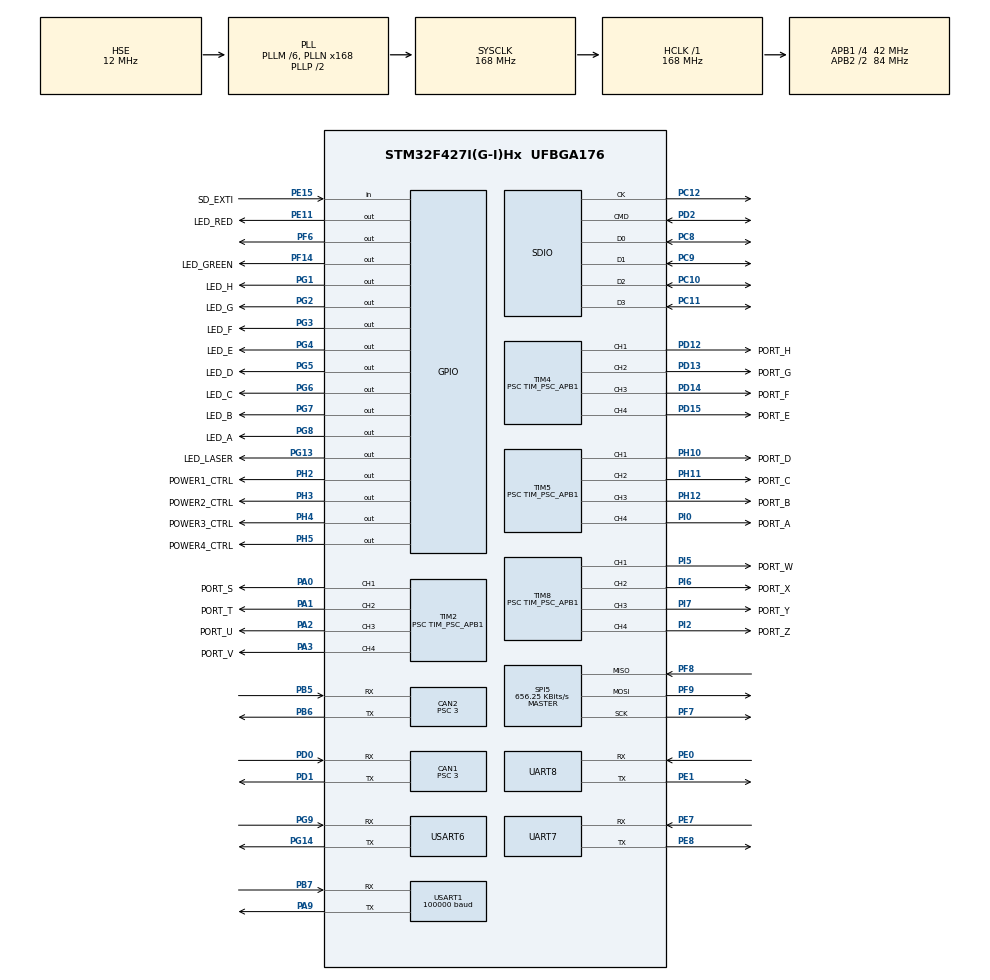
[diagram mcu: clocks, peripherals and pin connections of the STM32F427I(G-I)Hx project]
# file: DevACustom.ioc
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PG8.GPIO_ModeDefaultOutputPP=GPIO_MODE_OUTPUT_PP
VP_TIM5_VS_ClockSourceINT.Mode=Internal
CAN1.NART=DISABLE
PD12.GPIO_Label=PORT_H
PG6.PinState=GPIO_PIN_RESET
PC10.GPIO_PuPd=GPIO_PULLUP
PH12.Signal=S_TIM5_CH3
FATFS._USE_LFN=2
PG2.GPIO_PuPd=GPIO_NOPULL
VP_FATFS_VS_SDIO.Mode=SDIO
PG8.Signal=GPIO_Output
PG4.Signal=GPIO_Output
PC12.Signal=SDIO_CK
PG6.GPIO_Label=LED_C
Dma.SDIO_RX.1.Direction=DMA_PERIPH_TO_MEMORY
VP_RTC_VS_RTC_Activate.Mode=RTC_Enabled
Dma.SDIO_RX.1.Priority=DMA_PRIORITY_LOW
PI6.GPIO_Label=PORT_X
TIM8.Channel-PWM\ Generation4\ CH4=TIM_CHANNEL_4
PG5.GPIO_ModeDefaultOutputPP=GPIO_MODE_OUTPUT_PP
PG13.Signal=GPIO_Output
RCC.SYSCLKSource=RCC_SYSCLKSOURCE_PLLCLK
Dma.SDIO_RX.1.Instance=DMA2_Stream3
PH5.Signal=GPIO_Output
Dma.SDIO_TX.2.MemDataAlignment=DMA_MDATAALIGN_WORD
PF7.Signal=SPI5_SCK
TIM2.Pulse-PWM\ Generation3\ CH3=PWM_DEFAULT_DUTY
NVIC.CAN1_TX_IRQn=true\:5\:0\:false\:false\:true\:true\:true\:true
TIM8.Pulse-PWM\ Generation4\ CH4=PWM_DEFAULT_DUTY
PG2.GPIO_ModeDefaultOutputPP=GPIO_MODE_OUTPUT_PP
RCC.APB2TimFreq_Value=168000000
TIM4.Pulse-PWM\ Generation1\ CH1=PWM_DEFAULT_DUTY
Dma.SDIO_RX.1.FIFOMode=DMA_FIFOMODE_ENABLE
PB6.Signal=CAN2_TX
PH1/OSC_OUT.Signal=RCC_OSC_OUT
PB6.Mode=Slave
PD0.Signal=CAN1_RX
PE1.Signal=UART8_TX
TIM5.Pulse-PWM\ Generation1\ CH1=PWM_DEFAULT_DUTY
PH10.GPIO_Label=PORT_D
TIM4.Channel-PWM\ Generation3\ CH3=TIM_CHANNEL_3
PG14.Mode=Asynchronous
PG6.GPIO_PuPd=GPIO_NOPULL
PI6.Signal=S_TIM8_CH2
PG4.GPIO_Label=LED_E
PC9.Mode=SD_4_bits_Wide_bus
SH.S_TIM4_CH2.0=TIM4_CH2,PWM Generation2 CH2
PF8.Mode=Full_Duplex_Master
TIM4.Period=PWM_RESOLUTION-1
VP_FREERTOS_VS_CMSIS_V1.Mode=CMSIS_V1
CAN1.Prescaler=3
Mcu.Package=UFBGA176
TIM2.Prescaler=TIM_PSC_APB1
TIM8.Channel-PWM\ Generation3\ CH3=TIM_CHANNEL_3
SH.S_TIM8_CH4.0=TIM8_CH4,PWM Generation4 CH4
NVIC.TimeBase=TIM7_IRQn
PD12.Signal=S_TIM4_CH1
TIM8.Pulse-PWM\ Generation3\ CH3=PWM_DEFAULT_DUTY
NVIC.TimeBaseIP=TIM7
PC11.Mode=SD_4_bits_Wide_bus
TIM2.Pulse-PWM\ Generation2\ CH2=PWM_DEFAULT_DUTY
SPI5.CalculateBaudRate=656.25 KBits/s
PH2.Signal=GPIO_Output
PG8.GPIO_Speed=GPIO_SPEED_FREQ_LOW
RCC.APB2CLKDivider=RCC_HCLK_DIV2
NVIC.DMA2_Stream2_IRQn=true\:5\:0\:false\:false\:true\:true\:false\:true
SH.S_TIM4_CH1.0=TIM4_CH1,PWM Generation1 CH1
PF14.Signal=GPIO_Output
RCC.APB1TimFreq_Value=84000000
PG1.PinState=GPIO_PIN_RESET
NVIC.USART1_IRQn=true\:5\:0\:false\:false\:true\:true\:true\:true
TIM4.Channel-PWM\ Generation4\ CH4=TIM_CHANNEL_4
Dma.SDIO_TX.2.FIFOThreshold=DMA_FIFO_THRESHOLD_FULL
PD15.Signal=S_TIM4_CH4
SPI5.VirtualType=VM_MASTER
TIM4.Pulse-PWM\ Generation2\ CH2=PWM_DEFAULT_DUTY
PG6.GPIO_Speed=GPIO_SPEED_FREQ_LOW
CAN1.CalculateTimeQuantum=71.42857142857143
SH.S_TIM8_CH3.0=TIM8_CH3,PWM Generation3 CH3
Dma.SDIO_TX.2.MemInc=DMA_MINC_ENABLE
TIM4.Pulse-PWM\ Generation3\ CH3=PWM_DEFAULT_DUTY
TIM5.Pulse-PWM\ Generation2\ CH2=PWM_DEFAULT_DUTY
NVIC.UART8_IRQn=true\:5\:0\:false\:false\:true\:true\:true\:true
FREERTOS.Tasks01=indicatorTask,0,1024,indicatorTaskFunc,Default,NULL,Dynamic,NULL,NULL;chassisTask,0,128,chassisTaskFunc,Default,NULL,Dynamic,NULL,NULL;gimbalTask,0,128,gimbalTaskFunc,Default,NULL,Dynamic,NULL,NULL;flywheelTask,0,128,flywheelTaskFunc,Default,NULL,Dynamic,NULL,NULL;feederTask,0,128,feederTaskFunc,Default,NULL,Dynamic,NULL,NULL;canTask,0,128,canTaskFunc,Default,NULL,Dynamic,NULL,NULL;uartTask,0,128,uartTaskFunc,Default,NULL,Dynamic,NULL,NULL;decisionsTask,0,128,decisionTaskFunc,Default,NULL,Dynamic,NULL,NULL
PD2.GPIO_PuPd=GPIO_PULLUP
PG5.Signal=GPIO_Output
PG9.Signal=USART6_RX
PE1.Mode=Asynchronous
PG9.Mode=Asynchronous
PD1.Signal=CAN1_TX
PF14.GPIO_Label=LED_GREEN
TIM5.Channel-PWM\ Generation3\ CH3=TIM_CHANNEL_3
RCC.APB1CLKDivider=RCC_HCLK_DIV4
UART8.VirtualMode=Asynchronous
PG13.GPIO_Label=LED_LASER
SH.S_TIM8_CH2.0=TIM8_CH2,PWM Generation2 CH2
PG8.GPIO_PuPd=GPIO_NOPULL
PE8.Mode=Asynchronous
PG2.PinState=GPIO_PIN_RESET
PG5.PinState=GPIO_PIN_RESET
Dma.USART1_RX.0.Direction=DMA_PERIPH_TO_MEMORY
PA9.Signal=USART1_TX
PH11.GPIO_Label=PORT_C
VP_TIM8_VS_ClockSourceINT.Mode=Internal
PG7.PinState=GPIO_PIN_RESET
Dma.SDIO_TX.2.PeriphDataAlignment=DMA_PDATAALIGN_WORD
NVIC.DMA2_Stream6_IRQn=true\:5\:0\:false\:false\:true\:true\:false\:true
Dma.USART1_RX.0.PeriphInc=DMA_PINC_DISABLE
Dma.SDIO_RX.1.FIFOThreshold=DMA_FIFO_THRESHOLD_FULL
PC12.Mode=SD_4_bits_Wide_bus
SH.S_TIM8_CH1.0=TIM8_CH1,PWM Generation1 CH1
Dma.SDIO_RX.1.MemBurst=DMA_MBURST_INC4
PD1.Mode=Master
TIM4.Pulse-PWM\ Generation4\ CH4=PWM_DEFAULT_DUTY
PI7.Signal=S_TIM8_CH3
PE15.Signal=GPIO_Input
PE8.Signal=UART7_TX
PG7.GPIO_Label=LED_B
PI2.Signal=S_TIM8_CH4
PA1.GPIO_Label=PORT_T
PC9.GPIO_PuPd=GPIO_PULLUP
PA0/WKUP.GPIO_Label=PORT_S
TIM2.Period=PWM_RESOLUTION-1
PA13.Mode=Serial_Wire
PG1.GPIO_Speed=GPIO_SPEED_FREQ_LOW
Dma.SDIO_TX.2.Priority=DMA_PRIORITY_LOW
TIM8.Period=PWM_RESOLUTION-1
PC8.Mode=SD_4_bits_Wide_bus
PC8.GPIO_PuPd=GPIO_PULLUP
TIM5.Channel-PWM\ Generation2\ CH2=TIM_CHANNEL_2
PB5.Signal=CAN2_RX
PG7.GPIO_ModeDefaultOutputPP=GPIO_MODE_OUTPUT_PP
USART1.VirtualMode=VM_ASYNC
SH.S_TIM2_CH1_ETR.0=TIM2_CH1,PWM Generation1 CH1
TIM5.Channel-PWM\ Generation1\ CH1=TIM_CHANNEL_1
Dma.SDIO_TX.2.MemBurst=DMA_MBURST_INC4
ProjectManager.HeapSize=0x2000
Dma.SDIO_RX.1.MemInc=DMA_MINC_ENABLE
PF9.Signal=SPI5_MOSI
VP_TIM4_VS_ClockSourceINT.Mode=Internal
NVIC.PriorityGroup=NVIC_PRIORITYGROUP_4
Dma.SDIO_TX.2.PeriphInc=DMA_PINC_DISABLE
TIM2.Pulse-PWM\ Generation4\ CH4=PWM_DEFAULT_DUTY
PG3.GPIO_Label=LED_F
PD2.Signal=SDIO_CMD
PG5.GPIO_Speed=GPIO_SPEED_FREQ_LOW
PH2.GPIO_Label=POWER1_CTRL
NVIC.CAN1_RX0_IRQn=true\:5\:0\:false\:false\:true\:true\:true\:true
Mcu.Family=STM32F4
RCC.CortexFreq_Value=168000000
Dma.SDIO_RX.1.PeriphDataAlignment=DMA_PDATAALIGN_WORD
PG6.Signal=GPIO_Output
PH10.Signal=S_TIM5_CH1
PG2.Signal=GPIO_Output
PE11.GPIO_Label=LED_RED
USART1.BaudRate=100000
PC10.Signal=SDIO_D2
TIM8.Pulse-PWM\ Generation1\ CH1=PWM_DEFAULT_DUTY
Dma.SDIO_RX.1.Mode=DMA_PFCTRL
SH.S_TIM5_CH2.0=TIM5_CH2,PWM Generation2 CH2
PA0/WKUP.Signal=S_TIM2_CH1_ETR
TIM5.Pulse-PWM\ Generation4\ CH4=PWM_DEFAULT_DUTY
PH5.GPIO_Label=POWER4_CTRL
PI5.GPIO_Label=PORT_W
TIM2.Channel-PWM\ Generation2\ CH2=TIM_CHANNEL_2
PG5.GPIO_Label=LED_D
ProjectManager.StackSize=0x4000
PG3.GPIO_PuPd=GPIO_NOPULL
PG2.GPIO_Speed=GPIO_SPEED_FREQ_LOW
Dma.SDIO_TX.2.Mode=DMA_PFCTRL
PD13.Signal=S_TIM4_CH2
PC11.GPIO_PuPd=GPIO_PULLUP
Mcu.UserConstants=APB1_TIMER_CLOCKS,84000000;PWM_DEFAULT_DUTY,5000;PWM_FREQUENCE,50;PWM_RESOLUTION,10000;TIM_PSC_APB1,((APB1_TIMER_CLOCKS/PWM_FREQUENCE)/PWM_RESOLUTION -1);APB2_TIMER_CLOCKS,168000000;TIM_PSC_APB2,((APB2_TIMER_CLOCKS/PWM_FREQUENCE)/PWM_RESOLUTION -1)
PH0/OSC_IN.Mode=HSE-External-Oscillator
PG3.GPIO_ModeDefaultOutputPP=GPIO_MODE_OUTPUT_PP
RCC.HCLKFreq_Value=168000000
TIM8.Channel-PWM\ Generation1\ CH1=TIM_CHANNEL_1
SH.S_TIM5_CH3.0=TIM5_CH3,PWM Generation3 CH3
PG5.GPIO_PuPd=GPIO_NOPULL
RCC.AHBFreq_Value=168000000
Dma.USART1_RX.0.Priority=DMA_PRIORITY_LOW
RCC.HSE_VALUE=12000000
PF9.Mode=Full_Duplex_Master
PG4.GPIO_Speed=GPIO_SPEED_FREQ_LOW
TIM5.Channel-PWM\ Generation4\ CH4=TIM_CHANNEL_4
PI5.Signal=S_TIM8_CH1
PA14.Mode=Serial_Wire
CAN2.Prescaler=3
PI0.Signal=S_TIM5_CH4
TIM5.Pulse-PWM\ Generation3\ CH3=PWM_DEFAULT_DUTY
PB5.Mode=Slave
Dma.SDIO_TX.2.Direction=DMA_MEMORY_TO_PERIPH
PB7.Signal=USART1_RX
PG7.GPIO_PuPd=GPIO_NOPULL
TIM2.Channel-PWM\ Generation1\ CH1=TIM_CHANNEL_1
Dma.USART1_RX.0.MemInc=DMA_MINC_ENABLE
PH1/OSC_OUT.Mode=HSE-External-Oscillator
PG6.GPIO_ModeDefaultOutputPP=GPIO_MODE_OUTPUT_PP
PD13.GPIO_Label=PORT_G
PG4.PinState=GPIO_PIN_RESET
SPI5.BaudRatePrescaler=SPI_BAUDRATEPRESCALER_128
TIM8.Pulse-PWM\ Generation2\ CH2=PWM_DEFAULT_DUTY
CAN2.BS1=CAN_BS1_9TQ
CAN2.BS2=CAN_BS2_4TQ
USART6.VirtualMode=VM_ASYNC
Dma.SDIO_TX.2.PeriphBurst=DMA_PBURST_INC4
PG1.GPIO_PuPd=GPIO_NOPULL
PA2.GPIO_Label=PORT_U
TIM8.Channel-PWM\ Generation2\ CH2=TIM_CHANNEL_2
PF8.Signal=SPI5_MISO
Dma.SDIO_RX.1.PeriphBurst=DMA_PBURST_INC4
PI0.GPIO_Label=PORT_A
PH3.GPIO_Label=POWER2_CTRL
TIM8.Prescaler=TIM_PSC_APB1
Dma.USART1_RX.0.FIFOMode=DMA_FIFOMODE_DISABLE
PG8.PinState=GPIO_PIN_RESET
Dma.Request2=SDIO_TX
Dma.Request1=SDIO_RX
SH.S_TIM5_CH1.0=TIM5_CH1,PWM Generation1 CH1
Dma.USART1_RX.0.Mode=DMA_CIRCULAR
PE7.Signal=UART7_RX
PI2.GPIO_Label=PORT_Z
Dma.Request0=USART1_RX
Dma.USART1_RX.0.Instance=DMA2_Stream2
NVIC.TIM7_IRQn=true\:0\:0\:false\:false\:true\:false\:false\:true
PG2.GPIO_Label=LED_G
PA3.Signal=S_TIM2_CH4
RCC.PLLSourceVirtual=RCC_PLLSOURCE_HSE
TIM4.Channel-PWM\ Generation1\ CH1=TIM_CHANNEL_1
TIM2.Channel-PWM\ Generation4\ CH4=TIM_CHANNEL_4
PD15.GPIO_Label=PORT_E
PG7.Signal=GPIO_Output
Dma.USART1_RX.0.PeriphDataAlignment=DMA_PDATAALIGN_BYTE
CAN1.TXFP=DISABLE
PH12.GPIO_Label=PORT_B
PG4.GPIO_ModeDefaultOutputPP=GPIO_MODE_OUTPUT_PP
PH11.Signal=S_TIM5_CH2
PG3.Signal=GPIO_Output
SH.S_TIM4_CH4.0=TIM4_CH4,PWM Generation4 CH4
PG1.Signal=GPIO_Output
VP_SYS_VS_tim7.Mode=TIM7
PC11.Signal=SDIO_D3
PC8.Signal=SDIO_D0
PC10.Mode=SD_4_bits_Wide_bus
Dma.SDIO_TX.2.Instance=DMA2_Stream6
UART7.VirtualMode=Asynchronous
VP_RNG_VS_RNG.Mode=RNG_Activate
SPI5.Mode=SPI_MODE_MASTER
NVIC.SDIO_IRQn=true\:5\:0\:false\:false\:true\:true\:true\:true
TIM2.Pulse-PWM\ Generation1\ CH1=PWM_DEFAULT_DUTY
Dma.SDIO_RX.1.PeriphInc=DMA_PINC_DISABLE
NVIC.USART6_IRQn=true\:5\:0\:false\:false\:true\:true\:true\:true
PG8.GPIO_Label=LED_A
PA13.Signal=SYS_JTMS-SWDIO
PF7.Mode=Full_Duplex_Master
SH.S_TIM2_CH2.0=TIM2_CH2,PWM Generation2 CH2
PA9.Mode=Asynchronous
PE15.GPIO_Label=SD_EXTI
PH4.Signal=GPIO_Output
CAN1.BS2=CAN_BS2_4TQ
PF6.Signal=GPIO_Output
CAN1.BS1=CAN_BS1_9TQ
ProjectManager.TargetToolchain=MDK-ARM V5
SH.S_TIM4_CH3.0=TIM4_CH3,PWM Generation3 CH3
USART1.Parity=PARITY_EVEN
PG1.GPIO_ModeDefaultOutputPP=GPIO_MODE_OUTPUT_PP
NVIC.DMA2_Stream3_IRQn=true\:5\:0\:false\:false\:true\:true\:false\:true
TIM4.Prescaler=TIM_PSC_APB1
PE11.Signal=GPIO_Output
RCC.LSE_VALUE=32768
PA1.Signal=S_TIM2_CH2
CAN1.ABOM=ENABLE
Dma.SDIO_RX.1.MemDataAlignment=DMA_MDATAALIGN_WORD
PD2.Mode=SD_4_bits_Wide_bus
PG14.Signal=USART6_TX
board=custom
RCC.VCOOutputFreq_Value=336000000
PG1.GPIO_Label=LED_H
PH4.GPIO_Label=POWER3_CTRL
PH0/OSC_IN.Signal=RCC_OSC_IN
PG3.PinState=GPIO_PIN_RESET
TIM4.Channel-PWM\ Generation2\ CH2=TIM_CHANNEL_2
PG7.GPIO_Speed=GPIO_SPEED_FREQ_LOW
RCC.APB2Freq_Value=84000000
FATFS._FS_EXFAT=1
VP_TIM2_VS_ClockSourceINT.Mode=Internal
SH.S_TIM2_CH3.0=TIM2_CH3,PWM Generation3 CH3
CAN2.CalculateTimeQuantum=71.42857142857143
TIM2.Channel-PWM\ Generation3\ CH3=TIM_CHANNEL_3
Dma.USART1_RX.0.MemDataAlignment=DMA_MDATAALIGN_BYTE
PI7.GPIO_Label=PORT_Y
SH.S_TIM5_CH4.0=TIM5_CH4,PWM Generation4 CH4
PD14.GPIO_Label=PORT_F
PE0.Signal=UART8_RX
Mcu.Name=STM32F427I(G-I)Hx
PD0.Mode=Master
PA2.Signal=S_TIM2_CH3
FATFS._MAX_SS=4096
PD14.Signal=S_TIM4_CH3
RCC.48MHZClocksFreq_Value=48000000
RCC.SYSCLKFreq_VALUE=168000000
PE7.Mode=Asynchronous
TIM5.Prescaler=TIM_PSC_APB1
PB7.Mode=Asynchronous
PA14.Signal=SYS_JTCK-SWCLK
PG3.GPIO_Speed=GPIO_SPEED_FREQ_LOW
Dma.SDIO_TX.2.FIFOMode=DMA_FIFOMODE_ENABLE
SH.S_TIM2_CH4.0=TIM2_CH4,PWM Generation4 CH4
PG4.GPIO_PuPd=GPIO_NOPULL
RCC.HSI_VALUE=16000000
RCC.PLLQ=7
PH3.Signal=GPIO_Output
RCC.PLLM=6
RCC.PLLN=168
TIM5.Period=PWM_RESOLUTION-1
PC9.Signal=SDIO_D1
RCC.APB1Freq_Value=42000000
PE0.Mode=Asynchronous
SPI5.Direction=SPI_DIRECTION_2LINES
PA3.GPIO_Label=PORT_V
NVIC.UART7_IRQn=true\:5\:0\:false\:false\:true\:true\:true\:true

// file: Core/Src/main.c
/* USER CODE BEGIN Header */
/**
  ******************************************************************************
  * @file           : main.c
  * @brief          : Main program body
  ******************************************************************************
  * @attention
  *
  * <h2><center>&copy; Copyright (c) 2020 STMicroelectronics.
  * All rights reserved.</center></h2>
  *
  * This software component is licensed by ST under Ultimate Liberty license
  * SLA0044, the "License"; You may not use this file except in compliance with
  * the License. You may obtain a copy of the License at:
  *                             www.st.com/SLA0044
  *
  ******************************************************************************
  */
/* USER CODE END Header */

#include "main.h"
#include "cmsis_os.h"
#include "can.h"
#include "dma.h"
#include "fatfs.h"
#include "rng.h"
#include "rtc.h"
#include "sdio.h"
#include "spi.h"
#include "tim.h"
#include "usart.h"
#include "gpio.h"

/* USER CODE BEGIN Includes */
#include "information/rc_protocol.h"
#include "information/sd_protocol.h"
/* USER CODE END Includes */

/* USER CODE BEGIN PV */
// int rxCallbackCounter2 = 0;
// uint8_t readBuf[1];
/* USER CODE END PV */

void SystemClock_Config(void);
void MX_FREERTOS_Init(void);

/* USER CODE BEGIN 0 */
// void HAL_UART_RxCpltCallback(UART_HandleTypeDef* huart) {
//     rxCallbackCounter2++;
//     // if (readBuf[0] == 'r') {
//     // 	HAL_GPIO_TogglePin(LED_GPIO_Port, LED_Pin);
//     // 	HAL_UART_Transmit(&huart6, txString, sizeof(txString), timeout);
//     // }
//     // else if (readBuf[0] == 's') {
//     // 	HAL_GPIO_TogglePin(LED_GPIO_Port, LED_Pin);
//     // 	HAL_UART_Transmit(&huart6, txString1, sizeof(txString1), timeout);
//     // }
//     HAL_UART_Receive_IT(&huart6, (uint8_t*)readBuf, 1);
// }
/* USER CODE END 0 */

int main(void)
{

  /* MCU Configuration--------------------------------------------------------*/

  /* Reset of all peripherals, Initializes the Flash interface and the Systick. */

  HAL_Init();

  /* Configure the system clock */
  SystemClock_Config();

  /* Initialize all configured peripherals */
  MX_GPIO_Init();
  MX_DMA_Init();
  MX_CAN1_Init();
  MX_TIM2_Init();
  MX_TIM4_Init();
  MX_TIM5_Init();
  MX_TIM8_Init();
  MX_RNG_Init();
  MX_RTC_Init();
  MX_USART6_UART_Init();
  MX_CAN2_Init();
  MX_USART1_UART_Init();
  MX_UART7_Init();
  MX_UART8_Init();
  MX_SDIO_SD_Init();
  MX_FATFS_Init();
  MX_SPI5_Init();
  /* USER CODE BEGIN 2 */
	BSP_SD_Init();

  //HAL_UART_Receive_IT(&huart6, (uint8_t*)readBuf, 1);

  // Turn all the LED's off to begin with
  HAL_GPIO_WritePin(GPIOE, LED_RED_Pin, GPIO_PIN_SET);
  HAL_GPIO_WritePin(GPIOF, LED_GREEN_Pin, GPIO_PIN_SET);
	HAL_GPIO_WritePin(GPIOG, LED_LASER_Pin, GPIO_PIN_RESET);
  HAL_GPIO_WritePin(GPIOG, LED_A_Pin, GPIO_PIN_SET);
  HAL_GPIO_WritePin(GPIOG, LED_B_Pin, GPIO_PIN_SET);
  HAL_GPIO_WritePin(GPIOG, LED_C_Pin, GPIO_PIN_SET);
  HAL_GPIO_WritePin(GPIOG, LED_D_Pin, GPIO_PIN_SET);
  HAL_GPIO_WritePin(GPIOG, LED_E_Pin, GPIO_PIN_SET);
  HAL_GPIO_WritePin(GPIOG, LED_F_Pin, GPIO_PIN_SET);
  HAL_GPIO_WritePin(GPIOG, LED_G_Pin, GPIO_PIN_SET);
  HAL_GPIO_WritePin(GPIOG, LED_H_Pin, GPIO_PIN_SET);

	HAL_GPIO_WritePin(GPIOH, POWER4_CTRL_Pin, GPIO_PIN_RESET);

  /* USER CODE END 2 */

  /* Call init function for freertos objects (in freertos.c) */
  MX_FREERTOS_Init();
  /* Start scheduler */
  osKernelStart();

  /* We should never get here as control is now taken by the scheduler */
  /* Infinite loop */
  /* USER CODE BEGIN WHILE */
    while (1) {
        HAL_GPIO_TogglePin(GPIOE, LED_RED_Pin);
        HAL_Delay(500);
        // blinking red LED if the kernel isn't started for whatever reason
    /* USER CODE END WHILE */

    }
}

void SystemClock_Config(void)
{
  RCC_OscInitTypeDef RCC_OscInitStruct = {0};
  RCC_ClkInitTypeDef RCC_ClkInitStruct = {0};
  RCC_PeriphCLKInitTypeDef PeriphClkInitStruct = {0};

  /** Configure the main internal regulator output voltage
  */
  __HAL_RCC_PWR_CLK_ENABLE();
  __HAL_PWR_VOLTAGESCALING_CONFIG(PWR_REGULATOR_VOLTAGE_SCALE1);
  /** Initializes the CPU, AHB and APB busses clocks
  */
  RCC_OscInitStruct.OscillatorType = RCC_OSCILLATORTYPE_LSI|RCC_OSCILLATORTYPE_HSE;
  RCC_OscInitStruct.HSEState = RCC_HSE_ON;
  RCC_OscInitStruct.LSIState = RCC_LSI_ON;
  RCC_OscInitStruct.PLL.PLLState = RCC_PLL_ON;
  RCC_OscInitStruct.PLL.PLLSource = RCC_PLLSOURCE_HSE;
  RCC_OscInitStruct.PLL.PLLM = 6;
  RCC_OscInitStruct.PLL.PLLN = 168;
  RCC_OscInitStruct.PLL.PLLP = RCC_PLLP_DIV2;
  RCC_OscInitStruct.PLL.PLLQ = 7;
  if (HAL_RCC_OscConfig(&RCC_OscInitStruct) != HAL_OK)
  {
    Error_Handler();
  }
  /** Initializes the CPU, AHB and APB busses clocks
  */
  RCC_ClkInitStruct.ClockType = RCC_CLOCKTYPE_HCLK|RCC_CLOCKTYPE_SYSCLK
                              |RCC_CLOCKTYPE_PCLK1|RCC_CLOCKTYPE_PCLK2;
  RCC_ClkInitStruct.SYSCLKSource = RCC_SYSCLKSOURCE_PLLCLK;
  RCC_ClkInitStruct.AHBCLKDivider = RCC_SYSCLK_DIV1;
  RCC_ClkInitStruct.APB1CLKDivider = RCC_HCLK_DIV4;
  RCC_ClkInitStruct.APB2CLKDivider = RCC_HCLK_DIV2;

  if (HAL_RCC_ClockConfig(&RCC_ClkInitStruct, FLASH_LATENCY_5) != HAL_OK)
  {
    Error_Handler();
  }
  PeriphClkInitStruct.PeriphClockSelection = RCC_PERIPHCLK_RTC;
  PeriphClkInitStruct.RTCClockSelection = RCC_RTCCLKSOURCE_LSI;
  if (HAL_RCCEx_PeriphCLKConfig(&PeriphClkInitStruct) != HAL_OK)
  {
    Error_Handler();
  }
}

 /**
  * @brief  Period elapsed callback in non blocking mode
  * @note   This function is called  when TIM7 interrupt took place, inside
  * HAL_TIM_IRQHandler(). It makes a direct call to HAL_IncTick() to increment
  * a global variable "uwTick" used as application time base.
  * @param  htim : TIM handle
  * @retval None
  */
void HAL_TIM_PeriodElapsedCallback(TIM_HandleTypeDef *htim)
{
  if (htim->Instance == TIM7) {
    HAL_IncTick();
  }
}

void Error_Handler(void)
{
}

/************************ (C) COPYRIGHT STMicroelectronics *****END OF FILE****/

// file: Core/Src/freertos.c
/* USER CODE BEGIN Header */
/**
  ******************************************************************************
  * File Name          : freertos.c
  * Description        : Code for freertos applications
  ******************************************************************************
  * @attention
  *
  * <h2><center>&copy; Copyright (c) 2021 STMicroelectronics.
  * All rights reserved.</center></h2>
  *
  * This software component is licensed by ST under Ultimate Liberty license
  * SLA0044, the "License"; You may not use this file except in compliance with
  * the License. You may obtain a copy of the License at:
  *                             www.st.com/SLA0044
  *
  ******************************************************************************
  */
/* USER CODE END Header */

#include "FreeRTOS.h"
#include "task.h"
#include "main.h"
#include "cmsis_os.h"

osThreadId indicatorTaskHandle;
osThreadId chassisTaskHandle;
osThreadId gimbalTaskHandle;
osThreadId flywheelTaskHandle;
osThreadId feederTaskHandle;
osThreadId canTaskHandle;
osThreadId uartTaskHandle;
osThreadId decisionsTaskHandle;

void indicatorTaskFunc(void const * argument);
void chassisTaskFunc(void const * argument);
void gimbalTaskFunc(void const * argument);
void flywheelTaskFunc(void const * argument);
void feederTaskFunc(void const * argument);
void canTaskFunc(void const * argument);
void uartTaskFunc(void const * argument);
void decisionTaskFunc(void const * argument);

void MX_FREERTOS_Init(void); /* (MISRA C 2004 rule 8.1) */

/* GetIdleTaskMemory prototype (linked to static allocation support) */
void vApplicationGetIdleTaskMemory( StaticTask_t **ppxIdleTaskTCBBuffer, StackType_t **ppxIdleTaskStackBuffer, uint32_t *pulIdleTaskStackSize );

/* USER CODE BEGIN GET_IDLE_TASK_MEMORY */
static StaticTask_t xIdleTaskTCBBuffer;
static StackType_t xIdleStack[configMINIMAL_STACK_SIZE];

void vApplicationGetIdleTaskMemory( StaticTask_t **ppxIdleTaskTCBBuffer, StackType_t **ppxIdleTaskStackBuffer, uint32_t *pulIdleTaskStackSize )
{
  *ppxIdleTaskTCBBuffer = &xIdleTaskTCBBuffer;
  *ppxIdleTaskStackBuffer = &xIdleStack[0];
  *pulIdleTaskStackSize = configMINIMAL_STACK_SIZE;
  /* place for user code */
}
/* USER CODE END GET_IDLE_TASK_MEMORY */

void MX_FREERTOS_Init(void) {

  /* Create the thread(s) */
  /* definition and creation of indicatorTask */
  osThreadDef(indicatorTask, indicatorTaskFunc, osPriorityNormal, 0, 1024);
  indicatorTaskHandle = osThreadCreate(osThread(indicatorTask), NULL);

  /* definition and creation of chassisTask */
  osThreadDef(chassisTask, chassisTaskFunc, osPriorityNormal, 0, 128);
  chassisTaskHandle = osThreadCreate(osThread(chassisTask), NULL);

  /* definition and creation of gimbalTask */
  osThreadDef(gimbalTask, gimbalTaskFunc, osPriorityNormal, 0, 128);
  gimbalTaskHandle = osThreadCreate(osThread(gimbalTask), NULL);

  /* definition and creation of flywheelTask */
  osThreadDef(flywheelTask, flywheelTaskFunc, osPriorityNormal, 0, 128);
  flywheelTaskHandle = osThreadCreate(osThread(flywheelTask), NULL);

  /* definition and creation of feederTask */
  osThreadDef(feederTask, feederTaskFunc, osPriorityNormal, 0, 128);
  feederTaskHandle = osThreadCreate(osThread(feederTask), NULL);

  /* definition and creation of canTask */
  osThreadDef(canTask, canTaskFunc, osPriorityNormal, 0, 128);
  canTaskHandle = osThreadCreate(osThread(canTask), NULL);

  /* definition and creation of uartTask */
  osThreadDef(uartTask, uartTaskFunc, osPriorityNormal, 0, 128);
  uartTaskHandle = osThreadCreate(osThread(uartTask), NULL);

  /* definition and creation of decisionsTask */
  osThreadDef(decisionsTask, decisionTaskFunc, osPriorityNormal, 0, 128);
  decisionsTaskHandle = osThreadCreate(osThread(decisionsTask), NULL);

}

void indicatorTaskFunc(void const * argument)
{
  for(;;)
  {
    osDelay(1);
  }
}

void chassisTaskFunc(void const * argument)
{
  for(;;)
  {
    osDelay(1);
  }
}

void gimbalTaskFunc(void const * argument)
{
  for(;;)
  {
    osDelay(1);
  }
}

void flywheelTaskFunc(void const * argument)
{
  for(;;)
  {
    osDelay(1);
  }
}

void feederTaskFunc(void const * argument)
{
  for(;;)
  {
    osDelay(1);
  }
}

void canTaskFunc(void const * argument)
{
  for(;;)
  {
    osDelay(1);
  }
}

void uartTaskFunc(void const * argument)
{
  for(;;)
  {
    osDelay(1);
  }
}

void decisionTaskFunc(void const * argument)
{
  for(;;)
  {
    osDelay(1);
  }
}

/************************ (C) COPYRIGHT STMicroelectronics *****END OF FILE****/
